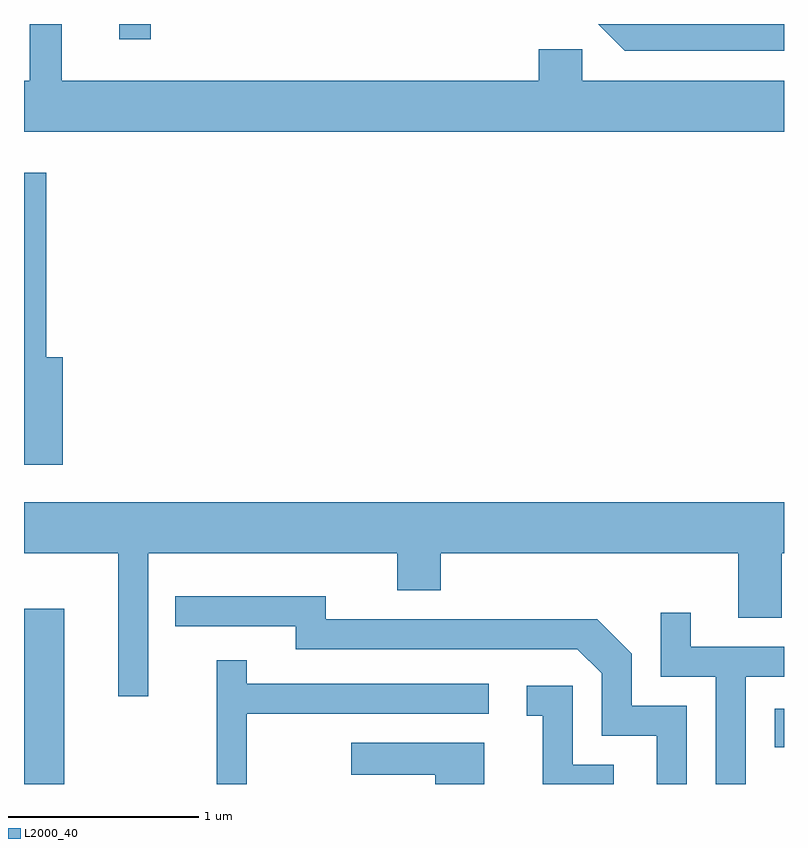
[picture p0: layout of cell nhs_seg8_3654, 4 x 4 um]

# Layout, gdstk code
import gdstk
lib = gdstk.Library(unit=1e-6, precision=1e-09)
def R(c, l, rs):  # rectangles x0, y0, x1, y1
    for r in rs: c.add(gdstk.rectangle(r[:2], r[2:], *l))
def P(c, l, *ps):  # polygons
    for p in ps: c.add(gdstk.Polygon(p, *l))
L2000_40 = (2000, 40)

nhs_seg8_3654 = lib.new_cell('nhs_seg8_3654')
R(nhs_seg8_3654, L2000_40, [(295.611,1806.342,295.824,1807.264), (299.561,1806.536,299.611,1806.739), (296.111,1810.263,296.279,1810.342)])
P(nhs_seg8_3654, L2000_40, [(299.611,1810.044),(298.549,1810.044),(298.549,1810.209),(298.321,1810.209),(298.321,1810.044),(295.809,1810.044),(295.809,1810.342),(295.641,1810.342),(295.641,1810.044),(295.611,1810.044),(295.611,1809.776),(299.611,1809.776)],
  [(299.611,1810.342),(298.633,1810.342),(298.774,1810.201),(299.611,1810.201)],
  [(295.814,1808.589),(295.729,1808.589),(295.729,1809.558),(295.611,1809.558),(295.611,1808.021),(295.814,1808.021)],
  [(296.264,1807.556),(297.576,1807.556),(297.576,1807.361),(297.804,1807.361),(297.804,1807.556),(299.371,1807.556),(299.371,1807.216),(299.599,1807.216),(299.599,1807.556),(299.611,1807.556),(299.611,1807.824),(295.611,1807.824),(295.611,1807.556),(296.106,1807.556),(296.106,1806.803),(296.264,1806.803)],
  [(299.099,1806.754),(298.809,1806.754),(298.809,1807.027),(298.627,1807.209),(297.199,1807.209),(297.199,1807.329),(296.408,1807.329),(296.408,1807.171),(297.041,1807.171),(297.041,1807.051),(298.524,1807.051),(298.651,1806.924),(298.651,1806.596),(298.941,1806.596),(298.941,1806.342),(299.099,1806.342)],
  [(299.409,1806.906),(299.611,1806.906),(299.611,1807.064),(299.119,1807.064),(299.119,1807.243),(298.961,1807.243),(298.961,1806.906),(299.251,1806.906),(299.251,1806.342),(299.409,1806.342)],
  [(296.784,1806.711),(298.058,1806.711),(298.058,1806.869),(296.784,1806.869),(296.784,1806.993),(296.626,1806.993),(296.626,1806.342),(296.784,1806.342)],
  [(298.714,1806.444),(298.499,1806.444),(298.499,1806.859),(298.258,1806.859),(298.258,1806.701),(298.341,1806.701),(298.341,1806.342),(298.714,1806.342)],
  [(298.034,1806.559),(297.333,1806.559),(297.333,1806.391),(297.776,1806.391),(297.776,1806.342),(298.034,1806.342)])

lib.write_gds('nhs_seg8_3654.gds')
